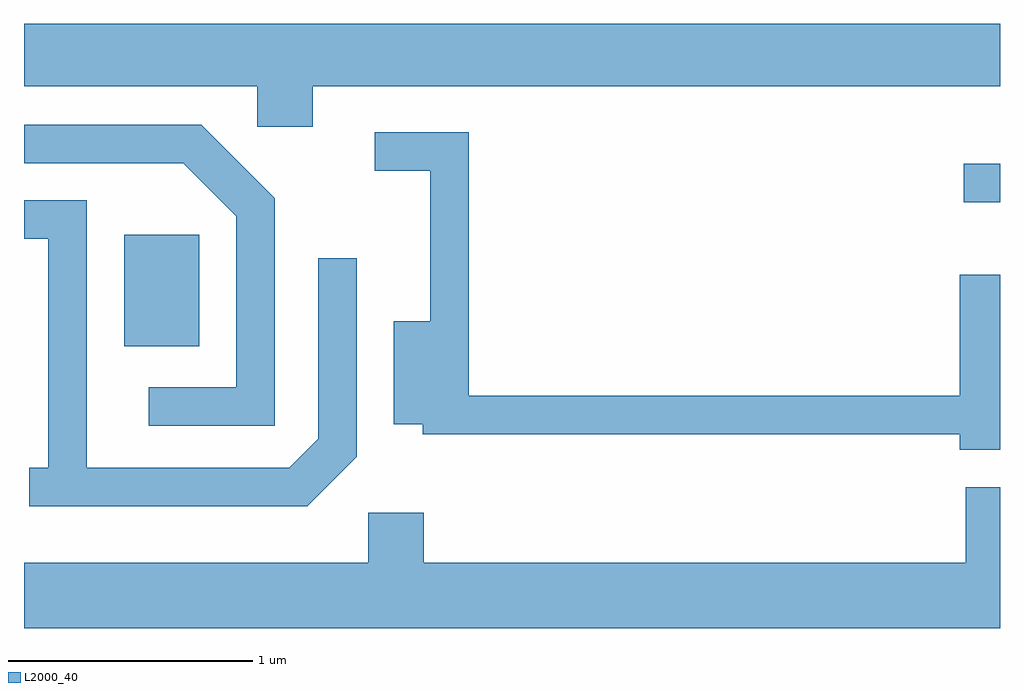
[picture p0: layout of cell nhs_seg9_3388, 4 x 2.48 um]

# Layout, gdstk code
import gdstk
lib = gdstk.Library(unit=1e-6, precision=1e-09)
def R(c, l, rs):  # rectangles x0, y0, x1, y1
    for r in rs: c.add(gdstk.rectangle(r[:2], r[2:], *l))
def P(c, l, *ps):  # polygons
    for p in ps: c.add(gdstk.Polygon(p, *l))
L2000_40 = (2000, 40)

nhs_seg9_3388 = lib.new_cell('nhs_seg9_3388')
R(nhs_seg9_3388, L2000_40, [(284.021,2075.111,284.329,2075.569), (287.463,2075.701,287.611,2075.859)])
P(nhs_seg9_3388, L2000_40, [(284.794,2076.176),(287.611,2076.176),(287.611,2076.432),(283.611,2076.432),(283.611,2076.176),(284.566,2076.176),(284.566,2076.011),(284.794,2076.011)],
  [(284.639,2075.717),(284.337,2076.019),(283.611,2076.019),(283.611,2075.861),(284.264,2075.861),(284.481,2075.644),(284.481,2074.944),(284.123,2074.944),(284.123,2074.786),(284.639,2074.786)],
  [(287.611,2075.404),(287.446,2075.404),(287.446,2074.909),(285.434,2074.909),(285.434,2075.989),(285.048,2075.989),(285.048,2075.831),(285.276,2075.831),(285.276,2075.214),(285.126,2075.214),(285.126,2074.791),(285.246,2074.791),(285.246,2074.751),(287.446,2074.751),(287.446,2074.686),(287.611,2074.686)],
  [(284.974,2074.659),(284.974,2075.472),(284.816,2075.472),(284.816,2074.731),(284.699,2074.614),(283.869,2074.614),(283.869,2075.709),(283.611,2075.709),(283.611,2075.551),(283.711,2075.551),(283.711,2074.614),(283.633,2074.614),(283.633,2074.456),(284.772,2074.456)],
  [(287.611,2074.534),(287.471,2074.534),(287.471,2074.224),(285.249,2074.224),(285.249,2074.429),(285.021,2074.429),(285.021,2074.224),(283.611,2074.224),(283.611,2073.956),(287.611,2073.956)])

lib.write_gds('nhs_seg9_3388.gds')
